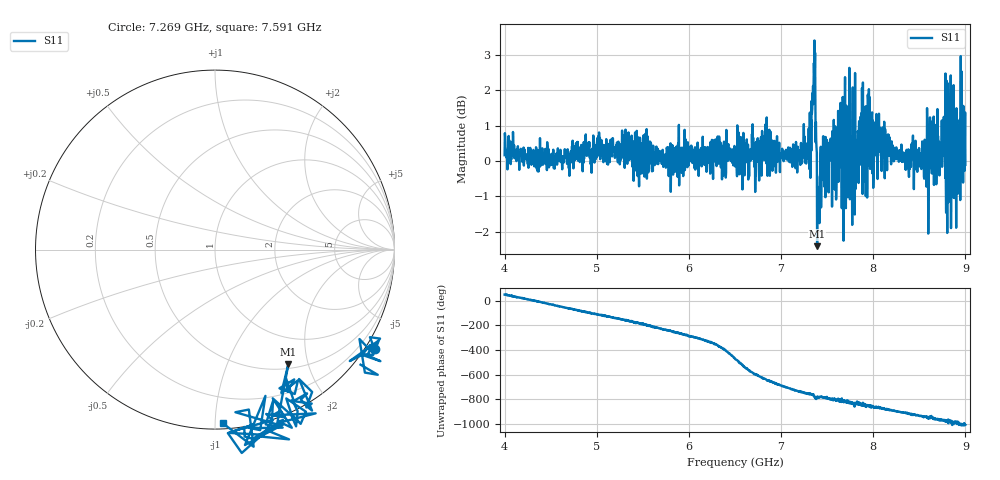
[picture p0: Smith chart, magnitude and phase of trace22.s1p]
! Created with skrf 1.8.0 (http://scikit-rf.org).
# Hz S RI R 50.0
!freq ReS11 ImS11
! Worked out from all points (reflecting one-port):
!   1601 points, 4 GHz to 9 GHz, reference 50 ohm
!   lowest |S11| = -2.4 dB at 7.391 GHz (marker M1), VSWR 7.26, Z = 28.1 - j84.3 ohm
!   phase of S11 starts at 48 deg and turns -1053 deg over the sweep
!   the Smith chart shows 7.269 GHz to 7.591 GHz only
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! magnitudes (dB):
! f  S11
! 4 GHz  0.2
! 4.625 GHz  -0.2
! 5.25 GHz  -0.1
! 5.875 GHz  0.2
! 6.5 GHz  -0.2
! 6.806 GHz  0.4
! 7.125 GHz  0.2
! 7.297 GHz  0.3
! 7.356 GHz  2.8
! 7.391 GHz  -2.4
! 7.416 GHz  -1.8
! 7.453 GHz  0.1
! 7.553 GHz  -1.3
! 7.606 GHz  0.0
! 7.669 GHz  1.8
! 7.678 GHz  -2.3
! 7.691 GHz  0.6
! 7.703 GHz  -1.3
! 7.75 GHz  -0.4
! 7.962 GHz  1.8
! 7.981 GHz  0.4
! 8.375 GHz  0.0
! 8.622 GHz  -0.1
! 8.631 GHz  0.2
! 8.816 GHz  -1.2
! 8.919 GHz  -0.6
! 8.956 GHz  0.3
! 9 GHz  -0.1
